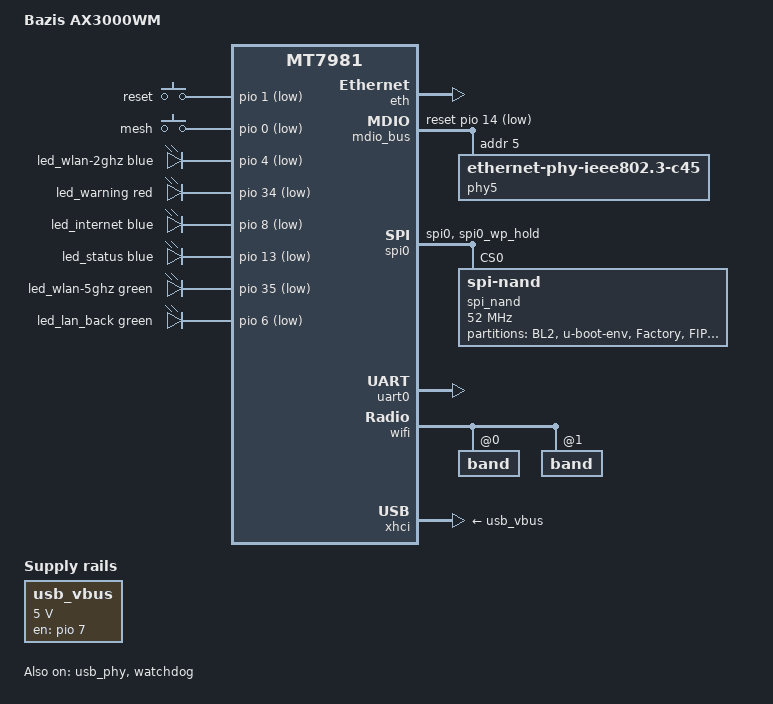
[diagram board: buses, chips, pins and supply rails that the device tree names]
// SPDX-License-Identifier: (GPL-2.0 OR MIT)

/*
 * Copyright (c) 2026
 * Author: Fil Dunsky <filipp.dunsky@gmail.com>
 */

/dts-v1/;
#include <dt-bindings/leds/common.h>
#include "mt7981b.dtsi"

/ {
	model = "Bazis AX3000WM";
	compatible = "bazis,ax3000wm", "mediatek,mt7981";

	aliases {
		label-mac-device = &gmac1;
		led-boot = &led_status;
		led-failsafe = &led_warning;
		led-running = &led_status;
		led-upgrade = &led_warning;
		serial0 = &uart0;
	};

	chosen: chosen {
		stdout-path = "serial0:115200n8";
		bootargs = "root=/dev/fit0 rootwait";
		rootdisk = <&ubi_rootdisk>;
	};

	gpio-keys {
		compatible = "gpio-keys";

		reset {
			label = "reset";
			linux,code = <KEY_RESTART>;
			gpios = <&pio 1 GPIO_ACTIVE_LOW>;
		};

		mesh {
			label = "mesh";
			linux,code = <KEY_RFKILL>;
			gpios = <&pio 0 GPIO_ACTIVE_LOW>;
		};
	};

	leds {
		compatible = "gpio-leds";

		led_wlan-2ghz {
			function = LED_FUNCTION_WLAN_2GHZ;
			color = <LED_COLOR_ID_BLUE>;
			gpios = <&pio 4 GPIO_ACTIVE_LOW>;
			linux,default-trigger = "phy0tpt";
		};
		
		led_warning: led_fault {
			function = LED_FUNCTION_FAULT;
			color = <LED_COLOR_ID_RED>;
			gpios = <&pio 34 GPIO_ACTIVE_LOW>;
		};

		led_internet {
			function = LED_FUNCTION_WAN_ONLINE;
			color = <LED_COLOR_ID_BLUE>;
			gpios = <&pio 8 GPIO_ACTIVE_LOW>;
		};

		led_status: led_power {
			function = LED_FUNCTION_POWER;
			color = <LED_COLOR_ID_BLUE>;
			gpios = <&pio 13 GPIO_ACTIVE_LOW>;
		};

		led_wlan-5ghz {
			function = LED_FUNCTION_WLAN_5GHZ;
			color = <LED_COLOR_ID_GREEN>;
			gpios = <&pio 35 GPIO_ACTIVE_LOW>;
			linux,default-trigger = "phy1tpt";
		};
		
		led_lan_back {
			function = LED_FUNCTION_LAN;
			color = <LED_COLOR_ID_GREEN>;
			gpios = <&pio 6 GPIO_ACTIVE_LOW>;
		};
	};

	usb_vbus: regulator-usb {
		compatible = "regulator-fixed";
		regulator-name = "usb-vbus";
		regulator-min-microvolt = <5000000>;
		regulator-max-microvolt = <5000000>;
		gpios = <&pio 7 GPIO_ACTIVE_HIGH>;
		enable-active-high;
		regulator-boot-on;
	};
};

&eth {
	pinctrl-names = "default";
	pinctrl-0 = <&mdio_pins>;
	status = "okay";

	gmac0: mac@0 {
		compatible = "mediatek,eth-mac";
		reg = <0>;
		phy-mode = "2500base-x";
		phy-handle = <&phy5>;
		nvmem-cell-names = "mac-address";
		nvmem-cells = <&mac_wan>;
	};

	gmac1: mac@1 {
		compatible = "mediatek,eth-mac";
		reg = <1>;
		phy-mode = "gmii";
		phy-handle = <&int_gbe_phy>;
		nvmem-cell-names = "mac-address";
		nvmem-cells = <&mac_lan>;
	};
};

&mdio_bus {
	reset-gpios = <&pio 14 GPIO_ACTIVE_LOW>;
	reset-delay-us = <600>;
	reset-post-delay-us = <20000>;

	/* MaxLinear GPY211C 2.5G PHY */
	phy5: phy@5 {
		compatible = "ethernet-phy-ieee802.3-c45";
		reg = <5>;
		
		leds {
			#address-cells = <1>;
			#size-cells = <0>;

			led@2 {
				reg = <2>;
				color = <LED_COLOR_ID_GREEN>;
				function = LED_FUNCTION_WAN;
			};

			led@3 {
				reg = <3>;
				color = <LED_COLOR_ID_AMBER>;
				function = LED_FUNCTION_WAN;
			};
		};
	};
};

&spi0 {
	pinctrl-names = "default";
	pinctrl-0 = <&spi0_flash_pins>;
	status = "okay";

	spi_nand: flash@0 {
		compatible = "spi-nand";
		reg = <0>;

		spi-max-frequency = <52000000>;
		spi-tx-bus-width = <4>;
		spi-rx-bus-width = <4>;

		spi-cal-enable;
		spi-cal-mode = "read-data";
		spi-cal-datalen = <7>;
		spi-cal-data = /bits/ 8 <0x53 0x50 0x49 0x4E 0x41 0x4E 0x44>;
		spi-cal-addrlen = <5>;
		spi-cal-addr = /bits/ 32 <0x0 0x0 0x0 0x0 0x0>;

		mediatek,nmbm;
		mediatek,bmt-max-ratio = <1>;
		mediatek,bmt-max-reserved-blocks = <64>;

		partitions {
			compatible = "fixed-partitions";
			#address-cells = <1>;
			#size-cells = <1>;

			partition@0 {
				label = "BL2";
				reg = <0x00000 0x0100000>;
				read-only;
			};

			partition@100000 {
				label = "u-boot-env";
				reg = <0x0100000 0x0080000>;
			};

			factory: partition@180000 {
				label = "Factory";
				reg = <0x180000 0x0200000>;
				read-only;

				nvmem-layout {
					compatible = "fixed-layout";
					#address-cells = <1>;
					#size-cells = <1>;

					eeprom_factory_0: eeprom@0 {
						reg = <0x0 0x1000>;
					};
					
					mac_lan: macaddr@4 {
						reg = <0x4 0x6>;
					};
					
					mac_wan: macaddr@a {
						reg = <0xa 0x6>;
					};

					mac_wlan_2ghz: macaddr@2a {
						reg = <0x2a 0x6>;
					};

					mac_wlan_5ghz: macaddr@24 {
						reg = <0x24 0x6>;
					};	
					
				};
			};

			partition@380000 {
				label = "FIP";
				reg = <0x380000 0x0200000>;
				read-only;
			};

			ubi: partition@580000 {
				label = "ubi";
				reg = <0x580000 0x7a40000>;
				compatible = "linux,ubi";
			
				volumes {
					ubi_rootdisk: ubi-volume-fit {
						volname = "fit";
					};
					
					ubi_ubootenv: ubi-volume-ubootenv {
						volname = "ubootenv";
					};

					ubi_ubootenv2: ubi-volume-ubootenv2 {
						volname = "ubootenv2";
					};
				};
			};
		};
	};
};

&pio {
	spi0_flash_pins: spi0-pins {
		mux {
			function = "spi";
			groups = "spi0", "spi0_wp_hold";
		};
	};
};

&usb_phy {
	status = "okay";
};

&uart0 {
	status = "okay";
};

&watchdog {
	status = "okay";
};

&wifi {
	status = "okay";
	nvmem-cells = <&eeprom_factory_0>;
	nvmem-cell-names = "eeprom";
	
	band@0 {
		reg = <0>;
		nvmem-cells = <&mac_wlan_2ghz>;
		nvmem-cell-names = "mac-address";
	};

	band@1 {
		reg = <1>;
		nvmem-cells = <&mac_wlan_5ghz>;
		nvmem-cell-names = "mac-address";
	};
};

&xhci {
	status = "okay";
	vbus-supply = <&usb_vbus>;
};
